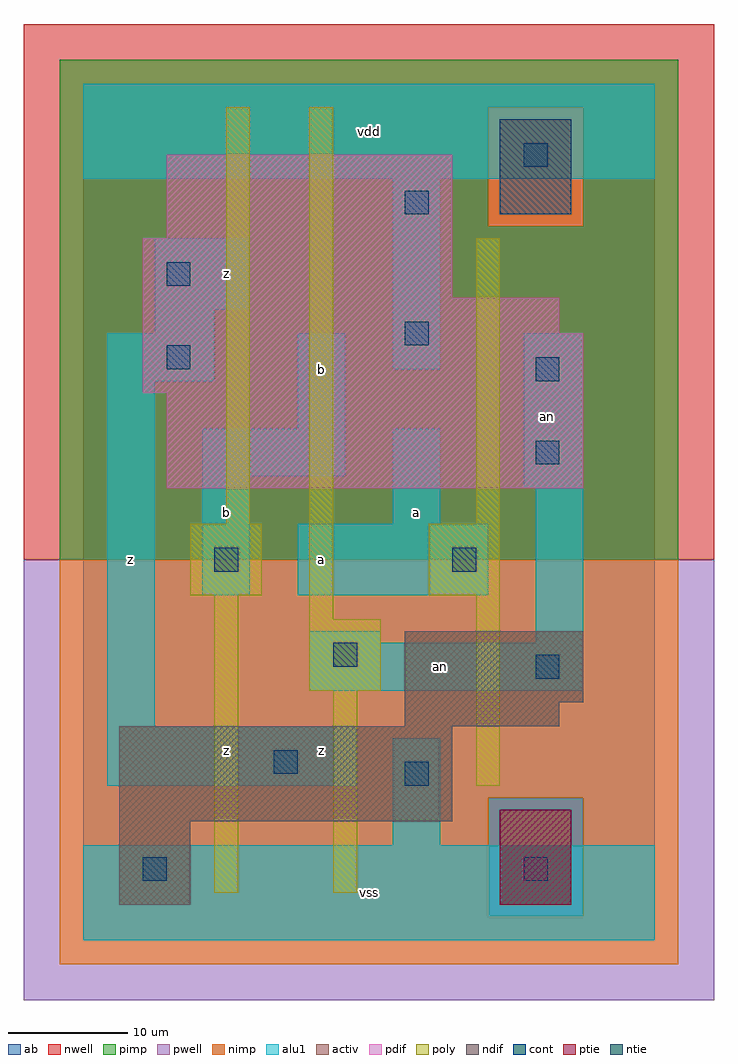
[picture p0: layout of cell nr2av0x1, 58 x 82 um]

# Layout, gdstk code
import gdstk
lib = gdstk.Library(unit=1e-6, precision=1e-09)
def R(c, l, rs):  # rectangles x0, y0, x1, y1
    for r in rs: c.add(gdstk.rectangle(r[:2], r[2:], *l))
ndif = (3, 0)
pdif = (4, 0)
ntie = (5, 0)
ptie = (6, 0)
cont = (25, 0)
pwell = (41, 0)
nwell = (42, 0)
activ = (43, 0)
pimp = (44, 0)
nimp = (45, 0)
poly = (46, 0)
alu1 = (49, 0)
ab = (63, 0)

nr2av0x1 = lib.new_cell('nr2av0x1')
R(nr2av0x1, ndif, [(3,3,9,10), (3,10,31,18), (27,18,40,20), (27,20,42,26)])
R(nr2av0x1, pdif, [(7,38,42,46), (5,46,42,51), (5,51,40,54), (5,54,31,59), (7,59,31,66)])
R(nr2av0x1, ntie, [(35,61,41,69)])
R(nr2av0x1, ptie, [(35,3,41,11)])
R(nr2av0x1, cont, [(5,5,7,7), (37,5,39,7), (27,13,29,15), (16,14,18,16), (38,22,40,24), (21,23,23,25), (11,31,13,33), (31,31,33,33), (38,40,40,42), (38,47,40,49), (7,48,9,50), (27,50,29,52), (7,55,9,57), (27,61,29,63), (37,65,39,67)])
R(nr2av0x1, pwell, [(-5,-5,53,32)])
R(nr2av0x1, nwell, [(-5,32,53,77)])
R(nr2av0x1, activ, [(3,3,9,10), (35,3,41,11), (3,10,31,18), (27,18,40,20), (27,20,42,26), (7,38,42,46), (5,46,42,51), (5,51,40,54), (5,54,31,59), (7,59,31,66), (35,61,41,69)])
R(nr2av0x1, pimp, [(34,2,42,12), (-2,32,50,60), (-2,60,34,70), (42,60,50,70), (-2,70,50,74)])
R(nr2av0x1, nimp, [(-2,-2,50,2), (-2,2,34,12), (42,2,50,12), (-2,12,50,32), (34,60,42,70)])
R(nr2av0x1, poly, [(11,4,13,29), (21,4,23,21), (33,13,35,29), (19,21,25,27), (19,27,21,70), (9,29,15,35), (29,29,35,35), (12,35,14,70), (33,35,35,59)])
R(nr2av0x1, alu1, [(0,0,48,8), (26,8,30,17), (2,13,23,18), (2,18,6,47), (19,21,42,25), (19,25,25,26), (38,25,42,38), (10,29,14,39), (18,29,34,35), (26,35,30,43), (37,38,42,51), (10,39,22,43), (18,43,22,51), (2,47,11,51), (26,48,30,64), (6,51,11,53), (6,53,14,59), (0,64,48,72)])
R(nr2av0x1, ab, [(0,0,48,72)])
nr2av0x1.add(gdstk.Label('an', (30,23), layer=49, texttype=0))
nr2av0x1.add(gdstk.Label('an', (39,44), layer=49, texttype=0))
nr2av0x1.add(gdstk.Label('z', (4,32), layer=49, texttype=0))
nr2av0x1.add(gdstk.Label('z', (20,16), layer=49, texttype=0))
nr2av0x1.add(gdstk.Label('z', (12,16), layer=49, texttype=0))
nr2av0x1.add(gdstk.Label('a', (20,32), layer=49, texttype=0))
nr2av0x1.add(gdstk.Label('b', (12,36), layer=49, texttype=0))
nr2av0x1.add(gdstk.Label('b', (20,48), layer=49, texttype=0))
nr2av0x1.add(gdstk.Label('z', (12,56), layer=49, texttype=0))
nr2av0x1.add(gdstk.Label('vss', (24,4), layer=49, texttype=0))
nr2av0x1.add(gdstk.Label('a', (28,36), layer=49, texttype=0))
nr2av0x1.add(gdstk.Label('vdd', (24,68), layer=49, texttype=0))

lib.write_gds('nr2av0x1.gds')
